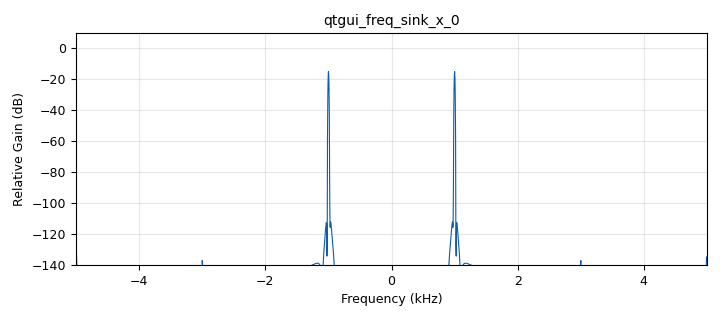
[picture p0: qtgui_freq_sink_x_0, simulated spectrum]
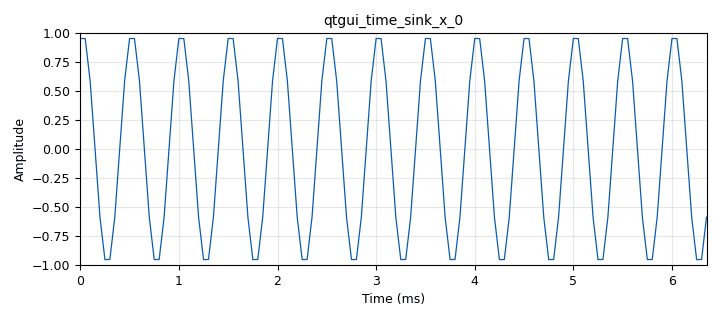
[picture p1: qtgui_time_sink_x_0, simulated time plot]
options:
  parameters:
    generate_options: qt_gui
    id: L2_p4
    output_language: python
    title: p4
  states: {}

blocks:
- name: freq
  id: variable_qtgui_range
  parameters:
    label: frecuencia de la señal
    orient: Qt.Horizontal
    start: '1000'
    step: '1000'
    stop: '40000'
    value: '1000'
  states: {}
- name: samp_rate
  id: variable_qtgui_range
  parameters:
    label: frequencia de muestreo
    orient: Qt.Horizontal
    start: '1000'
    step: '1000'
    stop: '80000'
    value: '20000'
  states: {}
- name: analog_sig_source_x_0
  id: analog_sig_source_x
  parameters:
    amp: '1'
    freq: '2000'
    offset: '0'
    phase: '0'
    samp_rate: samp_rate
    type: float
    waveform: analog.GR_SIN_WAVE
  states: {}
- name: blocks_throttle_0
  id: blocks_throttle
  parameters:
    samples_per_second: samp_rate
    type: float
  states: {}
- name: qtgui_freq_sink_x_0
  id: qtgui_freq_sink_x
  parameters:
    bw: '10000'
    fc: '0'
    fftsize: '2048'
    type: float
    wintype: firdes.WIN_BLACKMAN_hARRIS
  states: {}
- name: qtgui_time_sink_x_0
  id: qtgui_time_sink_x
  parameters:
    size: '128'
    srate: samp_rate
    type: float
  states: {}

connections:
- [analog_sig_source_x_0, '0', blocks_throttle_0, '0']
- [blocks_throttle_0, '0', qtgui_freq_sink_x_0, '0']
- [blocks_throttle_0, '0', qtgui_time_sink_x_0, '0']

metadata:
  file_format: 1
